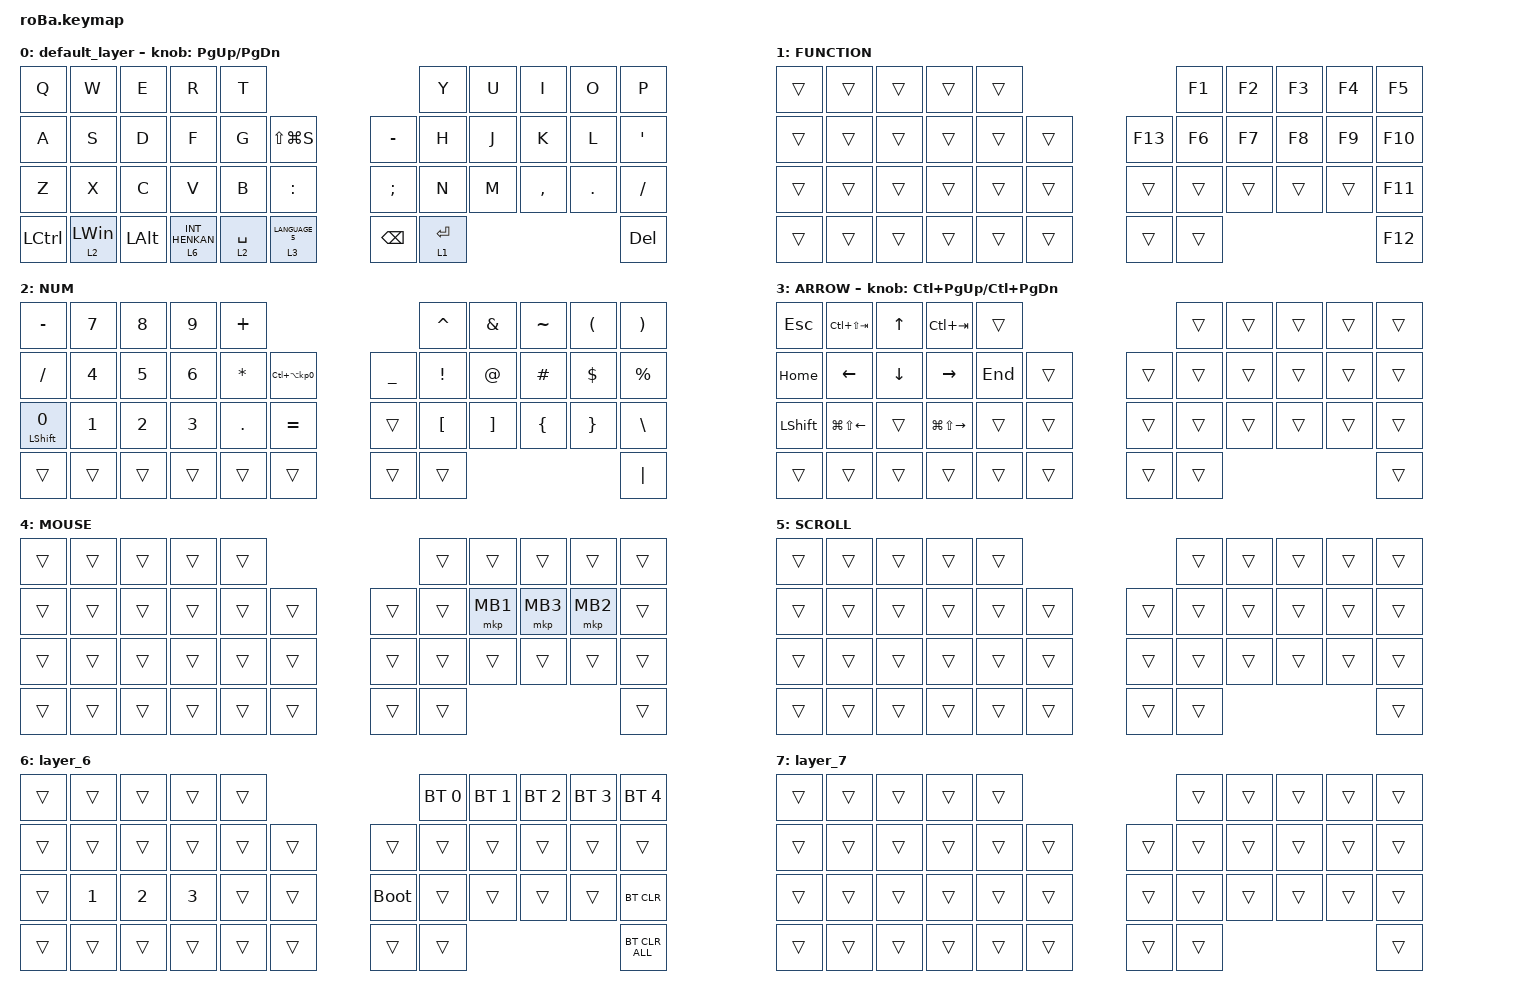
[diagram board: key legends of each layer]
#include <behaviors.dtsi>
#include <dt-bindings/zmk/bt.h>
#include <dt-bindings/zmk/keys.h>
#include <dt-bindings/zmk/pointing.h>

#define MOUSE 4
#define SCROLL 5
#define NUM 6

&mt {
    flavor = "balanced";
    quick-tap-ms = <0>;
};

/ {
    combos {
        compatible = "zmk,combos";

        tab {
            bindings = <&kp TAB>;
            key-positions = <11 12>;
            layers = <0>;
        };

        shift_tab {
            bindings = <&kp LS(TAB)>;
            key-positions = <12 13>;
            layers = <0>;
        };

        double_quotation {
            bindings = <&kp DOUBLE_QUOTES>;
            key-positions = <20 21>;
            layers = <0>;
        };

        eq {
            bindings = <&kp EQUAL>;
            key-positions = <24 25>;
        };

        esc {
            bindings = <&kp ESC>;
            key-positions = <0 1>;
            layers = <0>;
        };

        SHIFT {
            bindings = <&kp LEFT_SHIFT>;
            key-positions = <34 35>;
            layers = <0>;
        };
    };

    macros {
        to_layer_0: to_layer_0 {
            compatible = "zmk,behavior-macro-one-param";
            #binding-cells = <1>;
            bindings = <&to 0 &macro_param_1to1 &kp MACRO_PLACEHOLDER>;
            label = "TO_LAYER_0";
        };
    };

    behaviors {
        lt_to_layer_0: lt_to_layer_0 {
            compatible = "zmk,behavior-hold-tap";
            label = "LAYER_TAP_TO_0";
            bindings = <&mo>, <&to_layer_0>;

            #binding-cells = <2>;
            tapping-term-ms = <200>;
        };
    };

    keymap {
        compatible = "zmk,keymap";

        default_layer {
            bindings = <
&kp Q      &kp W           &kp E         &kp R                        &kp T                                                        &kp Y        &kp U  &kp I      &kp O    &kp P
&kp A      &kp S           &kp D         &kp F                        &kp G        &kp LS(LG(S))                    &kp MINUS      &kp H        &kp J  &kp K      &kp L    &kp SINGLE_QUOTE
&kp Z      &kp X           &kp C         &kp V                        &kp B        &kp COLON                        &kp SEMICOLON  &kp N        &kp M  &kp COMMA  &kp DOT  &kp SLASH
&kp LCTRL  &lt 2 LEFT_WIN  &kp LEFT_ALT  &lt_to_layer_0 6 INT_HENKAN  &lt 2 SPACE  &lt_to_layer_0 3 LANGUAGE_5      &kp BACKSPACE  &lt 1 ENTER                             &kp DEL
            >;

            sensor-bindings = <&inc_dec_kp PG_UP PAGE_DOWN>;
        };

        FUNCTION {
            bindings = <
&trans  &trans  &trans  &trans  &trans                       &kp F1  &kp F2  &kp F3  &kp F4  &kp F5
&trans  &trans  &trans  &trans  &trans  &trans      &kp F13  &kp F6  &kp F7  &kp F8  &kp F9  &kp F10
&trans  &trans  &trans  &trans  &trans  &trans      &trans   &trans  &trans  &trans  &trans  &kp F11
&trans  &trans  &trans  &trans  &trans  &trans      &trans   &trans                          &kp F12
            >;
        };

        NUM {
            bindings = <
&kp MINUS          &kp N7        &kp N8        &kp N9        &kp PLUS                                                   &kp CARET         &kp AMPERSAND      &kp TILDE       &kp LEFT_PARENTHESIS  &kp RIGHT_PARENTHESIS
&kp SLASH          &kp NUMBER_4  &kp N5        &kp NUMBER_6  &kp ASTERISK  &kp LC(LA(KP_NUMBER_0))      &kp UNDERSCORE  &kp EXCLAMATION   &kp AT_SIGN        &kp HASH        &kp DOLLAR            &kp PERCENT
&mt LEFT_SHIFT N0  &kp NUMBER_1  &kp NUMBER_2  &kp NUMBER_3  &kp PERIOD    &kp EQUAL                    &trans          &kp LEFT_BRACKET  &kp RIGHT_BRACKET  &kp LEFT_BRACE  &kp RIGHT_BRACE       &kp BACKSLASH
&trans             &trans        &trans        &trans        &trans        &trans                       &trans          &trans                                                                     &kp PIPE
            >;
        };

        ARROW {
            bindings = <
&kp ESCAPE      &kp LC(LS(TAB))         &kp UP_ARROW    &kp LC(TAB)              &trans                       &trans  &trans  &trans  &trans  &trans
&kp HOME        &kp LEFT_ARROW          &kp DOWN_ARROW  &kp RIGHT_ARROW          &kp END  &trans      &trans  &trans  &trans  &trans  &trans  &trans
&kp LEFT_SHIFT  &kp LG(LS(LEFT_ARROW))  &trans          &kp LG(LS(RIGHT_ARROW))  &trans   &trans      &trans  &trans  &trans  &trans  &trans  &trans
&trans          &trans                  &trans          &trans                   &trans   &trans      &trans  &trans                          &trans
            >;

            sensor-bindings = <&inc_dec_kp LC(PAGE_UP) LC(PAGE_DOWN)>;
        };

        MOUSE {
            bindings = <
&trans  &trans  &trans  &trans  &trans                      &trans  &trans    &trans    &trans    &trans
&trans  &trans  &trans  &trans  &trans  &trans      &trans  &trans  &mkp MB1  &mkp MB3  &mkp MB2  &trans
&trans  &trans  &trans  &trans  &trans  &trans      &trans  &trans  &trans    &trans    &trans    &trans
&trans  &trans  &trans  &trans  &trans  &trans      &trans  &trans                                &trans
            >;
        };

        SCROLL {
            bindings = <
&trans  &trans  &trans  &trans  &trans                      &trans  &trans  &trans  &trans  &trans
&trans  &trans  &trans  &trans  &trans  &trans      &trans  &trans  &trans  &trans  &trans  &trans
&trans  &trans  &trans  &trans  &trans  &trans      &trans  &trans  &trans  &trans  &trans  &trans
&trans  &trans  &trans  &trans  &trans  &trans      &trans  &trans                          &trans
            >;
        };

        layer_6 {
            bindings = <
&trans  &trans        &trans        &trans        &trans                           &bt BT_SEL 0  &bt BT_SEL 1  &bt BT_SEL 2  &bt BT_SEL 3  &bt BT_SEL 4
&trans  &trans        &trans        &trans        &trans  &trans      &trans       &trans        &trans        &trans        &trans        &trans
&trans  &kp NUMBER_1  &kp NUMBER_2  &kp NUMBER_3  &trans  &trans      &bootloader  &trans        &trans        &trans        &trans        &bt BT_CLR
&trans  &trans        &trans        &trans        &trans  &trans      &trans       &trans                                                  &bt BT_CLR_ALL
            >;
        };

        layer_7 {
            bindings = <
&trans  &trans  &trans  &trans  &trans                      &trans  &trans  &trans  &trans  &trans
&trans  &trans  &trans  &trans  &trans  &trans      &trans  &trans  &trans  &trans  &trans  &trans
&trans  &trans  &trans  &trans  &trans  &trans      &trans  &trans  &trans  &trans  &trans  &trans
&trans  &trans  &trans  &trans  &trans  &trans      &trans  &trans                          &trans
            >;
        };
    };
};
